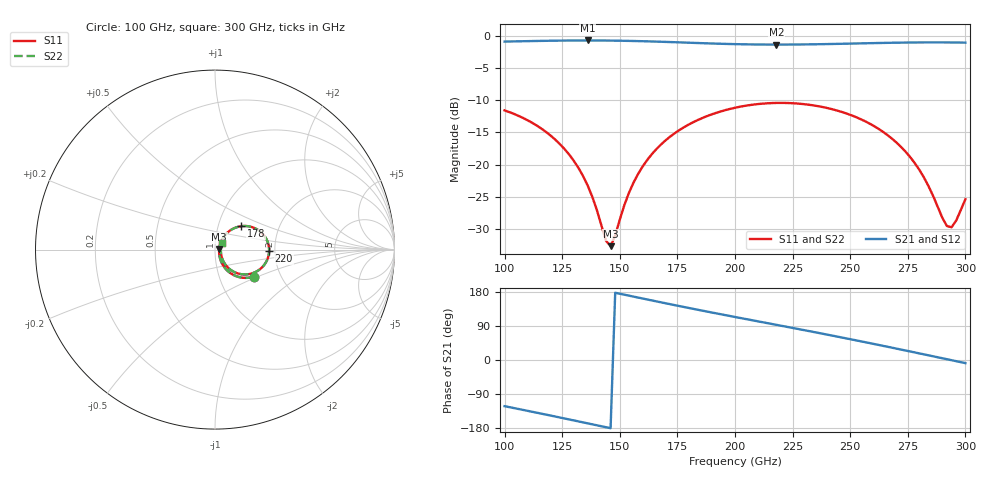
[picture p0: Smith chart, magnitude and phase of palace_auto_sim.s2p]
#  GHZ S DB R 50
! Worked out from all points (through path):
!   101 points, 100 GHz to 300 GHz, reference 50 ohm
!   highest |S21| = -0.72 dB at 136 GHz (marker M1); lowest = -1.4 dB at 218 GHz (marker M2)
!   group delay of S21, straight-line fit = 3.39 ps
!   lowest |S11| = -32.6 dB at 146 GHz (marker M3), VSWR 1.05, Z = 52.4 + j0.0878 ohm
!   |S11| at or under -10 dB: start of sweep to end of sweep
!   |S22| runs from -32.5 to -10.4 dB; largest |S21 - S12| = 1e-13
!   S11 on the Smith chart (normalised r, x): 100 GHz: 1.46, -0.47; 178 GHz: 1.29, +0.35; 220 GHz: 1.86, -0.03; 300 GHz: 1.08, +0.08
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100  -11.57 -34.7  -0.89 -121.9  -0.89 -121.9  -11.57 -34.7
120  -15.49 -55.0  -0.76 -146.7  -0.76 -146.7  -15.49 -55.0
128  -18.42 -61.3  -0.73 -156.8  -0.73 -156.8  -18.42 -61.2
134  -21.73 -63.3  -0.72 -164.5  -0.72 -164.5  -21.72 -63.1
136  -23.19 -62.5  -0.72 -167.1  -0.72 -167.1  -23.18 -62.3
144  -31.80 -27.3  -0.73 -177.4  -0.73 -177.4  -31.70 -27.0
146  -32.64 2.1  -0.74 -180.0  -0.74 -180.0  -32.52 1.9
156  -22.75 55.3  -0.80 167.2  -0.80 167.2  -22.74 55.0
162  -19.22 54.6  -0.85 159.6  -0.85 159.6  -19.22 54.4
168  -16.82 50.6  -0.92 152.1  -0.92 152.1  -16.82 50.4
178  -14.15 41.8  -1.04 139.7  -1.04 139.7  -14.15 41.6
200  -11.16 19.7  -1.29 113.5  -1.29 113.5  -11.16 19.6
218  -10.41 0.7  -1.36 92.7  -1.36 92.7  -10.42 0.6
220  -10.41 -1.4  -1.36 90.4  -1.36 90.4  -10.41 -1.5
234  -10.79 -16.3  -1.31 74.1  -1.31 74.1  -10.79 -16.4
250  -12.26 -33.1  -1.20 55.0  -1.20 55.0  -12.26 -33.2
268  -15.91 -50.0  -1.07 32.7  -1.07 32.7  -15.91 -50.0
280  -20.79 -55.3  -1.02 17.4  -1.02 17.4  -20.78 -55.1
292  -29.53 -14.8  -1.02 2.0  -1.02 2.0  -29.39 -14.6
294  -29.71 5.4  -1.03 -0.5  -1.03 -0.5  -29.55 5.2
296  -28.67 23.3  -1.03 -3.1  -1.03 -3.1  -28.54 22.7
300  -25.36 43.0  -1.05 -8.2  -1.05 -8.2  -25.29 42.4
